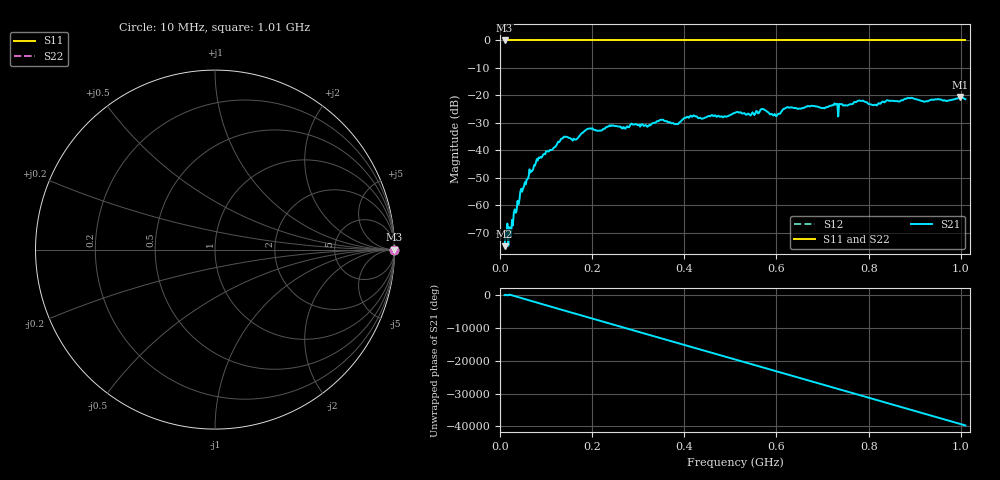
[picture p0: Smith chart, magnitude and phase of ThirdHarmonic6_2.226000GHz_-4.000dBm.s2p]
! 8/17/2025 2:29:47 AM
! C:\ANRITSUVNA\TEMP\TEMP.S2P
! CHANNEL.1
! TR.MEASUREMENT
! RAW.DATA
! RF.CORRECTION.OFF
! AVERAGING.OFF
! IF.BANDWIDTH: 5KHZ
! SWEEPTYPE:  FREQ.SWEEP(Linear)
! Reference Plane Port Info
! PORT:  PORT1  PORT2
! DISTANCE:  0  m  0  m
! TIME:  0  s  0  s
! PHASE.OFFSET:  0  deg.  0  deg.
! LOSS:  0  dB  0  dB
! REF.LOSS:  0  dB  0  dB
! REF.FREQ:  0  Hz  0  Hz
! Power Info
! POWER:  -20  dBm  -20  dBm
! EFF.POWER:  -20  dBm  -20  dBm
! SOURCE.ATTEN:  0  dB  0  dB
! TEST.ATTEN:  0  dB  0  dB
# GHZ S RI R 50.0
! FREQ.GHZ  S11RE  S11IM  S21RE  S21IM  S12RE  S12IM  S22RE  S22IM
!; PortSelection: Port_12
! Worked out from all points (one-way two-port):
!   501 points, 10 MHz to 1.01 GHz, reference 50 ohm
!   highest |S21| = -20.62 dB at 998 MHz (marker M1); lowest = -74.9 dB at 10 MHz (marker M2)
!   lowest |S11| = 0.0 dB at 10 MHz (marker M3)
!   |S11| at or under -10 dB: nowhere
!   |S22| runs from 0.0 to 0.0 dB; largest |S21 - S12| = 1.1
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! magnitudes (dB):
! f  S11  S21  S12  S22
! 10 MHz  0.0  -74.9  0.0  0.0
! 22 MHz  0.0  -68.2  0.0  0.0
! 48 MHz  0.0  -55.1  0.0  0.0
! 82 MHz  0.0  -43.7  0.0  0.0
! 136 MHz  0.0  -35.6  0.0  0.0
! 162 MHz  0.0  -36.1  0.0  0.0
! 178 MHz  0.0  -33.7  0.0  0.0
! 344 MHz  0.0  -29.4  0.0  0.0
! 382 MHz  0.0  -30.4  0.0  0.0
! 416 MHz  0.0  -27.7  0.0  0.0
! 510 MHz  0.0  -26.3  0.0  0.0
! 548 MHz  0.0  -26.2  0.0  0.0
! 570 MHz  0.0  -24.9  0.0  0.0
! 596 MHz  0.0  -26.8  0.0  0.0
! 622 MHz  0.0  -24.4  0.0  0.0
! 678 MHz  0.0  -23.8  0.0  0.0
! 738 MHz  0.0  -23.2  0.0  0.0
! 782 MHz  0.0  -22.0  0.0  0.0
! 814 MHz  0.0  -23.4  0.0  0.0
! 844 MHz  0.0  -22.0  0.0  0.0
! 998 MHz  0.0  -20.6  0.0  0.0
! 1.01 GHz  0.0  -21.4  0.0  0.0
